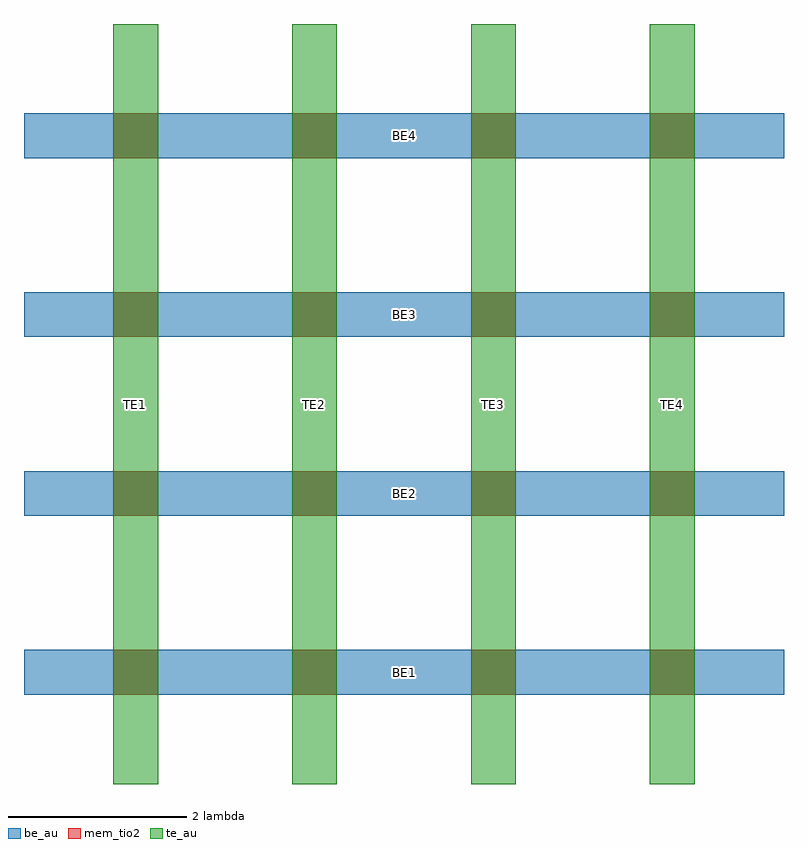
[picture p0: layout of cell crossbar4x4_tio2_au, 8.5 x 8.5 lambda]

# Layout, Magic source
magic
tech openmemristorpdk
magscale 1 2
<< be_au >>
rect 0 2 17 3
rect 0 6 17 7
rect 0 10 17 11
rect 0 14 17 15
<< te_au >>
rect 2 0 3 17
rect 6 0 7 17
rect 10 0 11 17
rect 14 0 15 17
<< mem_tio2 >>
rect 2 2 3 3
rect 6 2 7 3
rect 10 2 11 3
rect 14 2 15 3
rect 2 6 3 7
rect 6 6 7 7
rect 10 6 11 7
rect 14 6 15 7
rect 2 10 3 11
rect 6 10 7 11
rect 10 10 11 11
rect 14 10 15 11
rect 2 14 3 15
rect 6 14 7 15
rect 10 14 11 15
rect 14 14 15 15
<< labels >>
rlabel be_au 0 2 17 3 0 BE1
port 0 nsew
rlabel be_au 0 6 17 7 0 BE2
port 1 nsew
rlabel be_au 0 10 17 11 0 BE3
port 2 nsew
rlabel be_au 0 14 17 15 0 BE4
port 3 nsew
rlabel te_au 2 0 3 17 0 TE1
port 4 nsew
rlabel te_au 6 0 7 17 0 TE2
port 5 nsew
rlabel te_au 10 0 11 17 0 TE3
port 6 nsew
rlabel te_au 14 0 15 17 0 TE4
port 7 nsew
<< end >>
